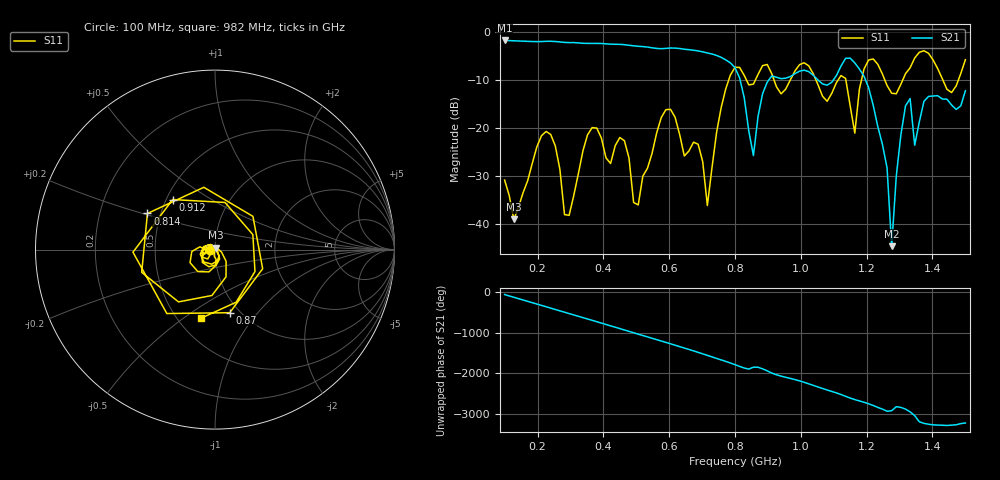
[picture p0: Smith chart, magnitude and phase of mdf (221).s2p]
! NanoVNA-App
! Date: 2025-09-25 15:40:08
! Start: 100MHz Stop: 1,5GHz Points: 101
! S-Parameter data: F S11 S21 S12 S22
# Hz S RI R 50
!  Frequency  S11_Real  S11_Imag  S21_Real  S21_Imag  S12_Real  S12_Imag  S22_Real  S22_Imag
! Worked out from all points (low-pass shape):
!   101 points, 100 MHz to 1.5 GHz, reference 50 ohm
!   highest |S21| = -1.80 dB at 100 MHz (marker M1); lowest = -44.5 dB at 1.276 GHz (marker M2)
!   |S21| within 3 dB of the highest: start of sweep to 739.1 MHz
!   lowest |S11| = -39.0 dB at 128 MHz (marker M3), VSWR 1.02, Z = 50.3 + j1.08 ohm
!   |S11| at or under -10 dB: start of sweep to 781 MHz; 918.6 MHz to 968.1 MHz (49.51 MHz wide, 5.25 % of centre); 1.046 GHz to 1.113 GHz (67.52 MHz wide, 6.25 % of centre) (the widest 3 of 7)
!   S12 and S22 are empty: the file has one direction only
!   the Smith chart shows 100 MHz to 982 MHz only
!   S11 on the Smith chart (normalised r, x): 100 MHz: 0.94, -0.01; 814 MHz: 0.42, +0.21; 870 MHz: 0.90, -0.73; 912 MHz: 0.54, +0.35; 982 MHz: 0.65, -0.58
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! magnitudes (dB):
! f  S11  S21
! 100 MHz  -30.8  -1.8
! 128 MHz  -39.0  -1.9
! 212 MHz  -21.6  -2.0
! 282 MHz  -37.9  -2.2
! 338 MHz  -24.7  -2.4
! 464 MHz  -22.6  -2.7
! 506 MHz  -35.9  -3.0
! 576 MHz  -17.8  -3.5
! 716 MHz  -36.1  -4.4
! 800 MHz  -7.4  -7.5
! 814 MHz  -7.4  -9.6
! 856 MHz  -10.9  -25.7
! 870 MHz  -8.8  -17.6
! 912 MHz  -8.8  -9.2
! 982 MHz  -8.2  -8.7
! 1.038 GHz  -8.7  -9.1
! 1.164 GHz  -21.0  -6.5
! 1.192 GHz  -7.7  -9.2
! 1.262 GHz  -11.2  -28.3
! 1.276 GHz  -12.8  -44.5
! 1.318 GHz  -8.7  -15.4
! 1.5 GHz  -5.8  -12.2
